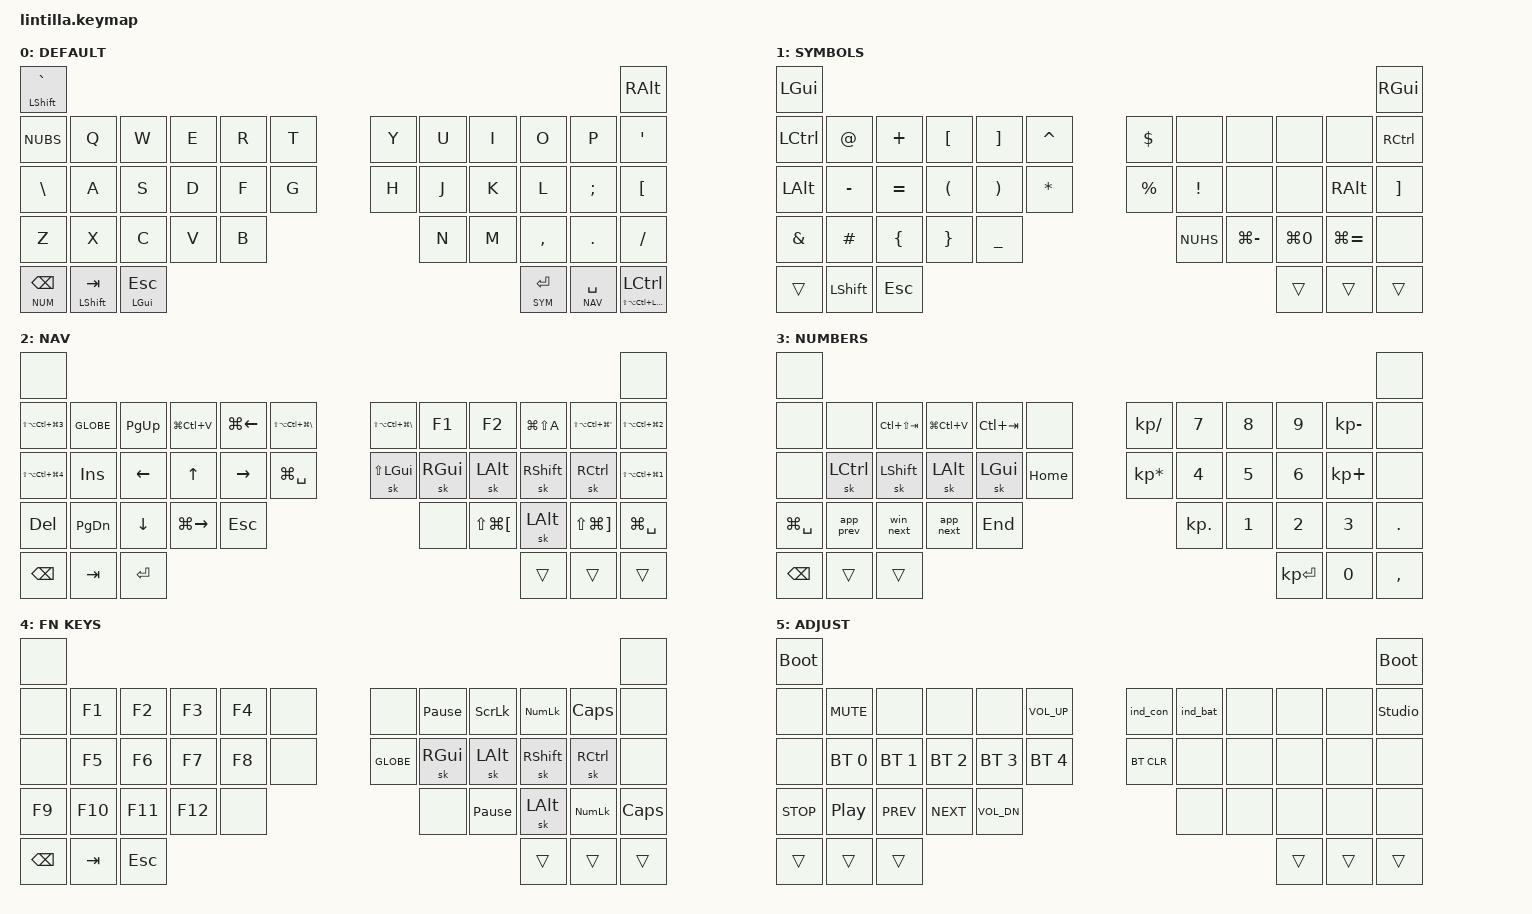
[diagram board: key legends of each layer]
#include <behaviors/rgbled_widget.dtsi>
#include <behaviors.dtsi>
#include <dt-bindings/zmk/bt.h>
#include <dt-bindings/zmk/keys.h>

// Shortcuts for home row mods

#define DEF     0
#define SYM     1
#define NAV     2
#define NUM     3
#define FN      4
#define ADJ     5

&mt {
    flavor = "hold-preferred";
    quick-tap-ms = <200>;
};

&lt {
    flavor = "hold-preferred";
    quick-tap-ms = <200>;
};

// Sticky mods: released on the next key press, forgotten after 2 s.
// Layer mods use plain &sk: tap = one-shot mod, hold + other key = ordinary mod.
&sk {
    release-after-ms = <2000>;
    quick-release;
};

/ {
    conditional_layers {
        compatible = "zmk,conditional-layers";

        adj_layer {
            if-layers = <SYM NAV>;
            then-layer = <ADJ>;
        };

        fn_layer {
            if-layers = <NUM SYM>;
            then-layer = <FN>;
        };
    };

    behaviors {
        // Space / NAV: avoid accidental NAV during fast typing.
        // balanced: NAV only if another key is pressed AND released while Space is held.
        // require-prior-idle-ms: right after typing a letter, Space is always a tap.
        lt_spc: layer_tap_space {
            compatible = "zmk,behavior-hold-tap";
            #binding-cells = <2>;
            flavor = "balanced";
            tapping-term-ms = <200>;
            quick-tap-ms = <200>;
            require-prior-idle-ms = <150>;
            bindings = <&mo>, <&kp>;
        };

        // Thumb: hold = Hyper (app switching), tap = one-shot Ctrl (Ctrl+C/D/L/S)
        hyp: hyper_or_sticky_ctrl {
            compatible = "zmk,behavior-hold-tap";
            #binding-cells = <2>;
            flavor = "hold-preferred";
            tapping-term-ms = <200>;
            bindings = <&kp>, <&sk>;
        };

        cmd_on: cmd_on {
            compatible = "zmk,behavior-macro";
            #binding-cells = <0>;
            bindings = <&macro_press &kp LGUI>;
        };

        cmd_off: cmd_off {
            compatible = "zmk,behavior-macro";
            #binding-cells = <0>;
            bindings = <&macro_release &kp LGUI>;
        };

        opt_on: opt_on {
            compatible = "zmk,behavior-macro";
            #binding-cells = <0>;
            bindings = <&macro_press &kp LALT>;
        };

        opt_off: opt_off {
            compatible = "zmk,behavior-macro";
            #binding-cells = <0>;
            bindings = <&macro_release &kp LALT>;
        };

        app_next: app_next {
            compatible = "zmk,behavior-tri-state";
            #binding-cells = <0>;
            bindings = <&cmd_on>, <&kp TAB>, <&cmd_off>;
            ignored-key-positions = <27>;
        };

        app_prev: app_prev {
            compatible = "zmk,behavior-tri-state";
            #binding-cells = <0>;
            bindings = <&cmd_on>, <&kp LS(TAB)>, <&cmd_off>;
            ignored-key-positions = <29>;
        };

        win_next: win_next {
            compatible = "zmk,behavior-tri-state";
            #binding-cells = <0>;
            bindings = <&opt_on>, <&kp TAB>, <&opt_off>;
        };
    };

    keymap {
        compatible = "zmk,keymap";

        default {
            label = "DEFAULT";
            display-name = "DEFAULT";
            bindings = <
           &mt LSHFT GRAVE                                                                                                                                                   &kp RALT
&kp NUBS   &kp Q           &kp W  &kp E  &kp R  &kp T                   &kp Y    &kp U  &kp I      &kp O    &kp P           &kp SQT
&kp BSLH   &kp A           &kp S  &kp D  &kp F  &kp G                   &kp H    &kp J  &kp K      &kp L    &kp SEMI        &kp LBKT
           &kp Z           &kp X  &kp C  &kp V  &kp B                   &kp N    &kp M  &kp COMMA  &kp DOT  &kp SLASH
                     &lt NUM BSPC  &mt LSHFT TAB  &mt LGUI ESC  &lt SYM RET  &lt_spc NAV SPACE  &hyp LS(LA(LC(LGUI))) LCTRL
            >;
        };

        symbol {
            label = "SYMBOLS";
            display-name = "SYMBOLS";
            bindings = <
           &kp LGUI                                                                                                                   &kp RGUI
&kp LCTRL  &kp AT     &kp PLUS  &kp LBKT  &kp RBKT  &kp CARET                                      &kp DLLR   &none     &none  &none  &none     &kp RCTRL
&kp LALT   &kp MINUS  &kp EQUAL &kp LPAR  &kp RPAR  &kp STAR                                       &kp PRCNT  &kp EXCL  &none  &none  &kp RALT  &kp RBKT
           &kp AMPS   &kp HASH  &kp LBRC  &kp RBRC  &kp UNDER                                      &kp NUHS   &kp LG(MINUS) &kp LG(N0) &kp LG(EQUAL) &none
                                                    &trans     &kp LSHFT  &kp ESC  &trans  &trans  &trans
            >;
        };

        navigation {
            label = "NAV";
            display-name = "NAV";
            bindings = <
                              &none                                                                                                                                                                                        &none
&kp LS(LA(LC(LG(NUMBER_3))))  &kp GLOBE  &kp PG_UP  &kp LG(LC(V))  &kp LG(LEFT)   &kp LS(LA(LC(LG(BSLH))))                                &kp LS(LA(LC(LG(BSLH)))) &kp F1                 &kp F2    &kp LG(LS(A))              &kp LS(LA(LC(LG(SQT)))) &kp LS(LA(LC(LG(NUMBER_2))))
&kp LS(LA(LC(LG(NUMBER_4))))  &kp INS    &kp LEFT   &kp UP         &kp RIGHT      &kp LG(SPACE)                                           &sk LS(LGUI)          &sk RGUI              &sk LALT     &sk RSHFT      &sk RCTRL          &kp LS(LA(LC(LG(NUMBER_1))))
                              &kp DEL    &kp PG_DN  &kp DOWN       &kp LG(RIGHT)  &kp ESC                                                 &none                 &kp LS(LG(LEFT_BRACKET))  &sk LALT     &kp LS(LG(RIGHT_BRACKET))  &kp LG(SPACE)
                                                                              &kp BSPC              &kp TAB  &kp RET  &trans  &trans  &trans
            >;
        };

        number {
            label = "NUMBERS";
            display-name = "NUMBERS";
            bindings = <
       &none                                                                                                                                                                          &none
&none  &none              &kp LC(LS(TAB))        &kp LG(LC(V))    &kp LC(TAB)       &none                                   &kp KP_SLASH     &kp N7  &kp N8  &kp N9  &kp KP_MINUS  &none
&none  &sk LCTRL     &sk LSHFT         &sk LALT     &sk LGUI      &kp HOME                                &kp KP_MULTIPLY  &kp N4  &kp N5  &kp N6  &kp KP_PLUS   &none
       &kp LG(SPACE)      &app_prev              &win_next        &app_next         &kp END                                 &kp KP_DOT       &kp N1  &kp N2  &kp N3  &kp DOT
                                                                              &kp BSPC  &trans  &trans             &kp KP_ENTER  &kp N0 &kp COMMA
            >;
        };

        fn {
            label = "FN KEYS";
            display-name = "FN KEYS";
            bindings = <
       &none                                                                                                                            &none
&none  &kp F1  &kp F2   &kp F3   &kp F4   &none                                       &none      &kp PAUSE_BREAK   &kp SLCK     &kp KP_NUM  &kp CAPS      &none
&none  &kp F5  &kp F6   &kp F7   &kp F8   &none                                       &kp GLOBE  &sk RGUI      &sk LALT     &sk RSHFT     &sk RCTRL     &none
       &kp F9  &kp F10  &kp F11  &kp F12  &none                                       &none      &kp PAUSE_BREAK   &sk LALT     &kp KP_NUM  &kp CAPS
                                          &kp BSPC  &kp TAB  &kp ESC  &trans  &trans  &trans
            >;
        };

        adjust {
            label = "ADJUST";
            display-name = "ADJUST";
            bindings = <
       &bootloader                                                                                                                               &bootloader
&none  &kp C_MUTE    &none         &none         &none         &kp C_VOL_UP                                  &ind_con    &ind_bat  &none  &none  &none        &studio_unlock
&none  &bt BT_SEL 0  &bt BT_SEL 1  &bt BT_SEL 2  &bt BT_SEL 3  &bt BT_SEL 4                                  &bt BT_CLR  &none     &none  &none  &none        &none
       &kp C_STOP    &kp C_PP      &kp C_PREV    &kp C_NEXT    &kp C_VOL_DN                                  &none       &none     &none  &none  &none
                                                               &trans        &trans  &trans  &trans  &trans  &trans
            >;
        };

        // Extra empty layers for ZMK Studio

        layer6 { status = "reserved"; };

        layer7 { status = "reserved"; };

        layer8 { status = "reserved"; };

        layer9 { status = "reserved"; };

        layer10 { status = "reserved"; };

        layer11 { status = "reserved"; };

        layer12 { status = "reserved"; };

        layer13 { status = "reserved"; };

        layer14 { status = "reserved"; };

        layer15 { status = "reserved"; };
    };
};

// vim: expandtab softtabstop=4 shiftwidth=4 filetype=dts
